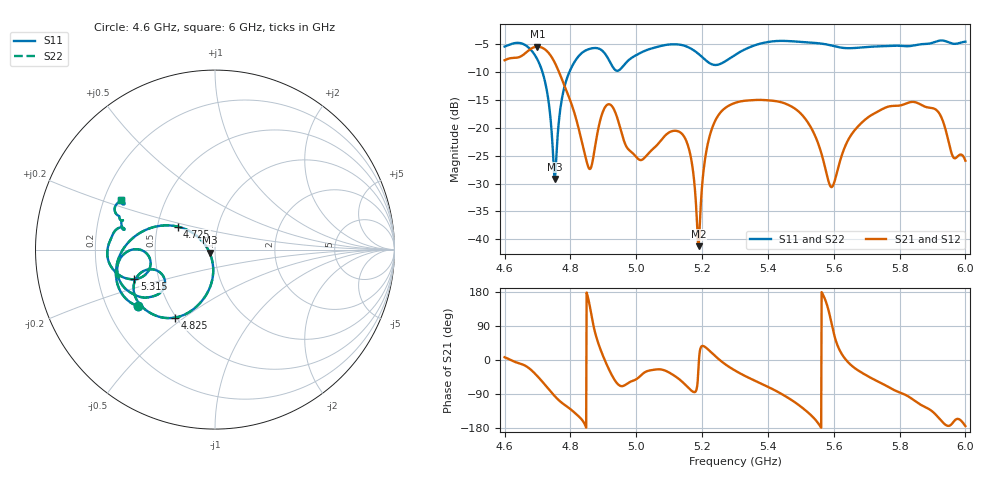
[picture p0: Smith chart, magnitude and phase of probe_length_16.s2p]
! TOUCHSTONE file generated by CST MICROWAVE STUDIO
! Date and time: Sat Nov 30 13:12:03 2024
! Project name: test_tuning.cst
! Parameters = {airCoaxOuterDiameter=3; chamferAngle=45; chamferWidth=24; connectorLength=10; drillingHoleDiameter=4.1; feedLength=60; flareDiameter=130; flareLength=70; gratingDistance=0; gratingGap=1.90274; outletLength=30; polarizerLength=134; probe1Diameter=1.3; probe1Distance=14; probe1Length=1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
! Header version: 2024
! Port assignment regex: !\s*Touchstone port\s*([0-9]+)\s*=\s*(CST MWS port|CST DES external port|CST DES block port)\s*(.+)\s* \(\"(.*)\"\)(\s*mode\s*([0-9]+))?.*
! Touchstone port assignment:
! Touchstone port 1 = CST MWS port 1 ("Input1")
! Touchstone port 2 = CST MWS port 2 ("Input2")
# GHz S MA R 50
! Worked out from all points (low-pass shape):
!   1001 points, 4.6 GHz to 6 GHz, reference 50 ohm
!   highest |S21| = -5.46 dB at 4.699 GHz (marker M1); lowest = -41.2 dB at 5.189 GHz (marker M2)
!   |S21| within 3 dB of the highest: start of sweep to 4.754 GHz
!   lowest |S11| = -29.2 dB at 4.753 GHz (marker M3), VSWR 1.07, Z = 47 - j1.6 ohm
!   |S11| at or under -10 dB: 4.715 GHz to 4.797 GHz (81.96 MHz wide, 1.72 % of centre)
!   |S22| runs from -29.2 to -4.4 dB; largest |S21 - S12| = 7.9e-07
!   S11 on the Smith chart (normalised r, x): 4.6 GHz: 0.33, -0.29; 4.725 GHz: 0.64, +0.17; 4.825 GHz: 0.49, -0.46; 5.315 GHz: 0.36, -0.15; 6 GHz: 0.27, +0.23
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4.6  0.5339 -144.0  0.4029 7.3  0.4029 7.3  0.5339 -144.0
4.6994  0.4102 165.2  0.5331 -42.4  0.5331 -42.4  0.4102 165.2
4.7246  0.2452 148.4  0.4985 -67.2  0.4985 -67.2  0.2452 148.4
4.7526  0.03483 -150.8  0.3822 -95.5  0.3822 -95.5  0.03483 -150.8
4.7792  0.2163 -97.9  0.2495 -116.5  0.2495 -116.5  0.2163 -97.9
4.8254  0.4397 -120.5  0.0973 -149.0  0.0973 -149.0  0.4397 -120.5
4.8338  0.4657 -125.0  0.07691 -156.5  0.07691 -156.5  0.4657 -125.0
4.8604  0.5111 -138.5  0.04287 134.7  0.04287 134.7  0.5111 -138.5
4.9164  0.4076 -163.5  0.1626 -23.7  0.1626 -23.7  0.4076 -163.5
5.006  0.458 -144.5  0.05246 -47.0  0.05246 -47.0  0.458 -144.5
5.0676  0.5345 -154.2  0.07241 -24.5  0.07241 -24.5  0.5345 -154.2
5.1488  0.5404 -172.9  0.0799 -65.0  0.0799 -65.0  0.5404 -172.9
5.1894  0.4587 180.0  0.008682 -16.1  0.008682 -16.1  0.4587 180.0
5.2258  0.375 -175.5  0.09009 21.8  0.09009 21.8  0.375 -175.5
5.3  0.4496 -159.3  0.167 -27.7  0.167 -27.7  0.4496 -159.3
5.3154  0.4787 -159.9  0.172 -35.3  0.172 -35.3  0.4787 -159.9
5.5338  0.5784 172.3  0.09677 -148.0  0.09677 -148.0  0.5784 172.3
5.594  0.5452 167.0  0.02941 93.7  0.02941 93.7  0.5452 167.0
5.657  0.5174 167.7  0.08969 -16.7  0.08969 -16.7  0.5174 167.7
5.7676  0.5416 164.5  0.1551 -72.0  0.1551 -72.0  0.5416 164.5
5.909  0.5901 159.8  0.1463 -143.3  0.1463 -143.3  0.5901 159.8
6  0.5907 152.1  0.05064 -174.3  0.05064 -174.3  0.5907 152.1
